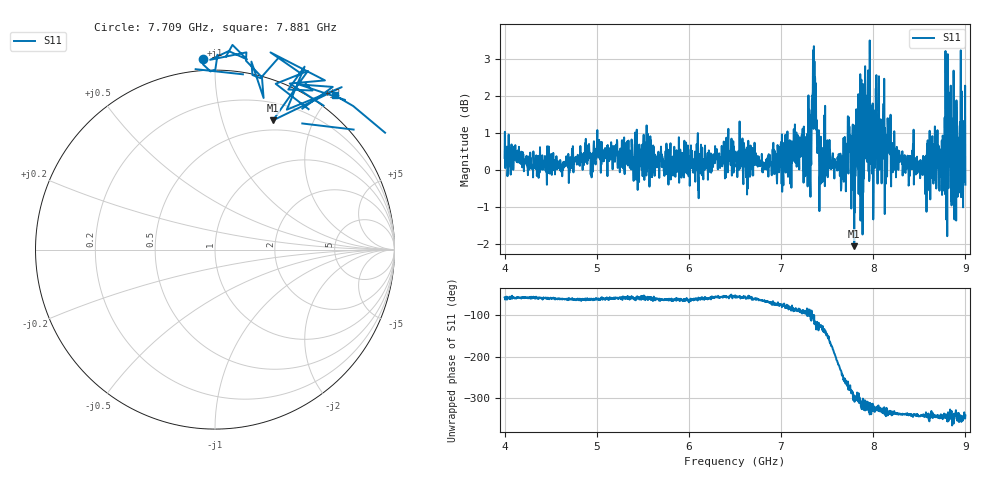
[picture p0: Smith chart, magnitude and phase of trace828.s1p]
! Created with skrf 1.8.0 (http://scikit-rf.org).
# Hz S RI R 50.0
!freq ReS11 ImS11
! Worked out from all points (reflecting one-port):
!   1601 points, 4 GHz to 9 GHz, reference 50 ohm
!   lowest |S11| = -2.1 dB at 7.794 GHz (marker M1), VSWR 8.48, Z = 19.3 + j73.7 ohm
!   phase of S11 starts at -58 deg and turns -283 deg over the sweep
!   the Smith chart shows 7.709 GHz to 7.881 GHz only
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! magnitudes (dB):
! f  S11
! 4 GHz  0.3
! 4.625 GHz  -0.2
! 5.016 GHz  0.7
! 5.25 GHz  -0.1
! 5.875 GHz  0.2
! 6.5 GHz  0.3
! 7.125 GHz  0.5
! 7.303 GHz  -0.4
! 7.359 GHz  1.7
! 7.406 GHz  1.0
! 7.438 GHz  -0.2
! 7.478 GHz  1.7
! 7.659 GHz  0.4
! 7.75 GHz  0.5
! 7.794 GHz  -2.1
! 7.834 GHz  0.0
! 7.909 GHz  1.7
! 7.928 GHz  1.0
! 8 GHz  -1.3
! 8.05 GHz  1.4
! 8.066 GHz  0.0
! 8.375 GHz  0.0
! 8.656 GHz  0.7
! 8.725 GHz  0.6
! 8.822 GHz  0.1
! 8.875 GHz  0.8
! 8.972 GHz  0.5
! 9 GHz  -0.4
